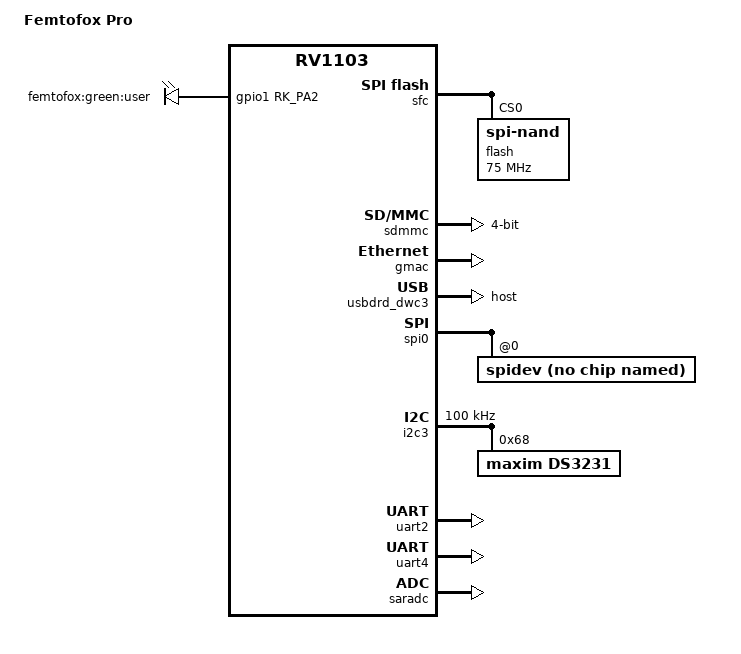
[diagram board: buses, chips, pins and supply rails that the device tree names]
// SPDX-License-Identifier: (GPL-2.0+ OR MIT)
/*
 * Femtofox Pro — custom carrier around the Luckfox Pico Mini A (RV1103),
 * SD-card boot. Peripherals: onboard Ethernet (magnetics+RJ45), USB host,
 * Ebyte E22-900M30S LoRa (SX1262) on spi0, DS3231 RTC on i2c3, UART4 header,
 * user LED (GPIO34), BOOT button (adc-key on SARADC0).
 *
 * Derived from rv1103g-luckfox-pico-mini.dts. Overrides happen only through
 * &-references so the Luckfox board definitions stay untouched.
 */

/dts-v1/;

#include <dt-bindings/gpio/gpio.h>
#include <dt-bindings/pinctrl/rockchip.h>
#include "rv1103.dtsi"
#include "rv1106-evb.dtsi"
#include "rv1103-luckfox-pico-ipc.dtsi"

/ {
	model = "Femtofox Pro";
	compatible = "femtofox,rv1103-femtofox-pro",
		     "luckfox,rv1103-luckfox-pico-mini-a",
		     "rockchip,rv1103";

	chosen {
		bootargs = "earlycon=uart8250,mmio32,0xff4c0000 console=ttyS2,115200n8 loglevel=8 ignore_loglevel";
	};

	leds {
		compatible = "gpio-leds";
		user_led: led-user {
			label = "femtofox:green:user";
			gpios = <&gpio1 RK_PA2 GPIO_ACTIVE_HIGH>;
			default-state = "off";
		};
	};
};

/* vendor-only, no upstream driver — silences a fwnode-link boot warning */
&fiq_debugger {
	status = "disabled";
};

/**********SFC**********/
/* Mini A has no onboard flash; the spi-nand probe fails harmlessly. Pinctrl
 * is required on SD boot because rkbin only muxes SFC pins for NAND boot. */
&sfc {
	status = "okay";
	pinctrl-names = "default";
	pinctrl-0 = <&fspi_pins &fspi_cs0>;
	flash@0 {
		compatible = "spi-nand";
		reg = <0>;
		spi-max-frequency = <75000000>;
		spi-rx-bus-width = <4>;
		spi-tx-bus-width = <1>;
	};
};

/**********SDMMC**********/
&sdmmc {
	max-frequency = <50000000>;
	no-sdio;
	no-mmc;
	bus-width = <4>;
	cap-mmc-highspeed;
	cap-sd-highspeed;
	disable-wp;
	pinctrl-names = "default";
	pinctrl-0 = <&sdmmc0_clk &sdmmc0_cmd &sdmmc0_det &sdmmc0_bus4>;
	status = "okay";
};

/**********ETH**********/
/* Femtofox has onboard magnetics + RJ45, so this is a real, link-capable port. */
&gmac {
	status = "okay";
};

/**********USB (host)**********/
/* Host port for USB WiFi dongle / mass storage. Unlike the Mini (which forces
 * peripheral mode for gadget networking), keep the INNO USB2 PHY references
 * intact and force host. &u2phy/&u2phy_otg/&usbdrd are enabled in rv1106-evb.dtsi. */
&usbdrd_dwc3 {
	dr_mode = "host";
	status = "okay";
};

/**********SPI0 — LoRa SX1262**********/
/* Mux ONLY clk/miso/mosi. spi0m0_cs0 (GPIO48) is deliberately omitted so the
 * pin stays in GPIO function — the userspace LoRa daemon drives CS/Busy/IRQ/RXen/Reset
 * via libgpiod on gpiochip1. The spidev@0 child is inherited from the ipc dtsi,
 * but its compatible there ("rockchip,spidev") is a vendor string the mainline
 * spidev driver does not match, so /dev/spidev0.0 never auto-binds. Override it
 * to the canonical "rohm,dh2228fv" spidev compatible so the device binds at boot. */
&spi0 {
	pinctrl-names = "default";
	pinctrl-0 = <&spi0m0_clk &spi0m0_miso &spi0m0_mosi>;
	status = "okay";

	spidev@0 {
		compatible = "rohm,dh2228fv";
	};
};

/**********I2C3 — DS3231 RTC**********/
/* i2c3m1 (SDA=GPIO58 / SCL=GPIO59); pinctrl inherited from the ipc dtsi. */
&i2c3 {
	status = "okay";
	clock-frequency = <100000>;

	ds3231: rtc@68 {
		compatible = "maxim,ds3231";
		reg = <0x68>;
	};
};

/**********UART**********/
/* UART2_M1 — debug console; keep enabled so the 8250 driver claims the clock
 * before clk_disable_unused() runs. */
&uart2 {
	status = "okay";
};

/* UART4_M1 — JST PH header (pinctrl uart4m1_xfer inherited from ipc dtsi). */
&uart4 {
	status = "okay";
};

/* UART3 stays disabled — GPIO56/57 are LoRa RXen/Reset, not UART. */
&uart3 {
	status = "disabled";
};

/**********SARADC — BOOT button (adc-keys)**********/
/* adc-keys node (saradc channel 0) is provided by rv1106-evb.dtsi. */
&saradc {
	status = "okay";
};

/* No onboard camera; sensors in the ipc dtsi both claim i2c4 0x30 (-EBUSY). */
&sc4336 {
	status = "disabled";
};

&sc530ai {
	status = "disabled";
};
